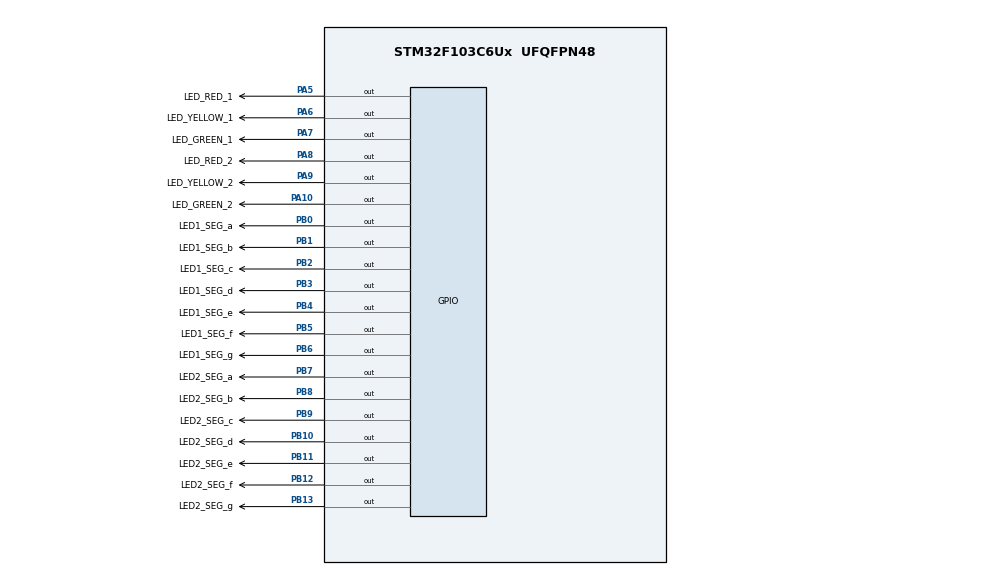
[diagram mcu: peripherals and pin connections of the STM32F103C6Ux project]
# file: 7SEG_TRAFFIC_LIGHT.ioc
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Mcu.Family=STM32F1
Mcu.Name=STM32F103C6Ux
Mcu.Package=UFQFPN48
NVIC.PriorityGroup=NVIC_PRIORITYGROUP_4
PA10.GPIO_Label=LED_GREEN_2
PA10.Signal=GPIO_Output
PA5.GPIO_Label=LED_RED_1
PA5.Signal=GPIO_Output
PA6.GPIO_Label=LED_YELLOW_1
PA6.Signal=GPIO_Output
PA7.GPIO_Label=LED_GREEN_1
PA7.Signal=GPIO_Output
PA8.GPIO_Label=LED_RED_2
PA8.Signal=GPIO_Output
PA9.GPIO_Label=LED_YELLOW_2
PA9.Signal=GPIO_Output
PB0.GPIO_Label=LED1_SEG_a
PB0.Signal=GPIO_Output
PB1.GPIO_Label=LED1_SEG_b
PB1.Signal=GPIO_Output
PB10.GPIO_Label=LED2_SEG_d
PB10.Signal=GPIO_Output
PB11.GPIO_Label=LED2_SEG_e
PB11.Signal=GPIO_Output
PB12.GPIO_Label=LED2_SEG_f
PB12.Signal=GPIO_Output
PB13.GPIO_Label=LED2_SEG_g
PB13.Signal=GPIO_Output
PB2.GPIO_Label=LED1_SEG_c
PB2.Signal=GPIO_Output
PB3.GPIO_Label=LED1_SEG_d
PB3.Signal=GPIO_Output
PB4.GPIO_Label=LED1_SEG_e
PB4.Signal=GPIO_Output
PB5.GPIO_Label=LED1_SEG_f
PB5.Signal=GPIO_Output
PB6.GPIO_Label=LED1_SEG_g
PB6.Signal=GPIO_Output
PB7.GPIO_Label=LED2_SEG_a
PB7.Signal=GPIO_Output
PB8.GPIO_Label=LED2_SEG_b
PB8.Signal=GPIO_Output
PB9.GPIO_Label=LED2_SEG_c
PB9.Signal=GPIO_Output
ProjectManager.HeapSize=0x200
ProjectManager.StackSize=0x400
ProjectManager.TargetToolchain=STM32CubeIDE
RCC.APB1Freq_Value=8000000
RCC.APB2Freq_Value=8000000
VP_SYS_VS_ND.Mode=No_Debug
board=custom

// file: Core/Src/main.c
/* USER CODE BEGIN Header */
/**
  ******************************************************************************
  * @file           : main.c
  * @brief          : Main program body
  ******************************************************************************
  * @attention
  *
  * <h2><center>&copy; Copyright (c) 2023 STMicroelectronics.
  * All rights reserved.</center></h2>
  *
  * This software component is licensed by ST under BSD 3-Clause license,
  * the "License"; You may not use this file except in compliance with the
  * License. You may obtain a copy of the License at:
  *                        opensource.org/licenses/BSD-3-Clause
  *
  ******************************************************************************
  */
/* USER CODE END Header */
#include "main.h"

void SystemClock_Config(void);
static void MX_GPIO_Init(void);

/* USER CODE BEGIN 0 */
void display7SEG(int num){
	const uint8_t sevenSegment[10] = {	0b00111111, // 0
										0b00000110, // 1
										0b01011011, // 2
										0b01001111, // 3
										0b01100110, // 4
										0b01101101, // 5
										0b01111101, // 6
										0b00000111, // 7
										0b01111111, // 8
										0b01101111  // 9
	};
	HAL_GPIO_WritePin(SEG_a_GPIO_Port, SEG_a_Pin, (sevenSegment[num] & 0x01) ? RESET : SET);
	HAL_GPIO_WritePin(SEG_b_GPIO_Port, SEG_b_Pin, (sevenSegment[num] & 0x02) ? RESET : SET);
	HAL_GPIO_WritePin(SEG_c_GPIO_Port, SEG_c_Pin, (sevenSegment[num] & 0x04) ? RESET : SET);
	HAL_GPIO_WritePin(SEG_d_GPIO_Port, SEG_d_Pin, (sevenSegment[num] & 0x08) ? RESET : SET);
	HAL_GPIO_WritePin(SEG_e_GPIO_Port, SEG_e_Pin, (sevenSegment[num] & 0x10) ? RESET : SET);
	HAL_GPIO_WritePin(SEG_f_GPIO_Port, SEG_f_Pin, (sevenSegment[num] & 0x20) ? RESET : SET);
	HAL_GPIO_WritePin(SEG_g_GPIO_Port, SEG_g_Pin, (sevenSegment[num] & 0x40) ? RESET : SET);
}

void displayLED(int counter){
	if(counter == 0){
		  HAL_GPIO_WritePin(LED_RED_1_GPIO_Port, LED_RED_1_Pin, SET);
		  HAL_GPIO_WritePin(LED_YELLOW_1_GPIO_Port, LED_YELLOW_1_Pin, RESET);
		  HAL_GPIO_WritePin(LED_GREEN_1_GPIO_Port, LED_GREEN_1_Pin, RESET);
		  HAL_GPIO_WritePin(LED_RED_2_GPIO_Port, LED_RED_2_Pin, RESET);
		  HAL_GPIO_WritePin(LED_YELLOW_2_GPIO_Port, LED_YELLOW_2_Pin, RESET);
		  HAL_GPIO_WritePin(LED_GREEN_2_GPIO_Port, LED_GREEN_2_Pin, SET);
	  }
	  if(counter == 3){
		  HAL_GPIO_WritePin(LED_RED_1_GPIO_Port, LED_RED_1_Pin, SET);
		  HAL_GPIO_WritePin(LED_YELLOW_1_GPIO_Port, LED_YELLOW_1_Pin, RESET);
		  HAL_GPIO_WritePin(LED_GREEN_1_GPIO_Port, LED_GREEN_1_Pin, RESET);
		  HAL_GPIO_WritePin(LED_RED_2_GPIO_Port, LED_RED_2_Pin, RESET);
		  HAL_GPIO_WritePin(LED_YELLOW_2_GPIO_Port, LED_YELLOW_2_Pin, SET);
		  HAL_GPIO_WritePin(LED_GREEN_2_GPIO_Port, LED_GREEN_2_Pin, RESET);
	  }
	  if(counter == 5){
		  HAL_GPIO_WritePin(LED_RED_1_GPIO_Port, LED_RED_1_Pin, RESET);
		  HAL_GPIO_WritePin(LED_YELLOW_1_GPIO_Port, LED_YELLOW_1_Pin, RESET);
		  HAL_GPIO_WritePin(LED_GREEN_1_GPIO_Port, LED_GREEN_1_Pin, SET);
		  HAL_GPIO_WritePin(LED_RED_2_GPIO_Port, LED_RED_2_Pin, SET);
		  HAL_GPIO_WritePin(LED_YELLOW_2_GPIO_Port, LED_YELLOW_2_Pin, RESET);
		  HAL_GPIO_WritePin(LED_GREEN_2_GPIO_Port, LED_GREEN_2_Pin, RESET);
	  }
	  if(counter == 8){
		  HAL_GPIO_WritePin(LED_RED_1_GPIO_Port, LED_RED_1_Pin, RESET);
		  HAL_GPIO_WritePin(LED_YELLOW_1_GPIO_Port, LED_YELLOW_1_Pin, SET);
		  HAL_GPIO_WritePin(LED_GREEN_1_GPIO_Port, LED_GREEN_1_Pin, RESET);
		  HAL_GPIO_WritePin(LED_RED_2_GPIO_Port, LED_RED_2_Pin, SET);
		  HAL_GPIO_WritePin(LED_YELLOW_2_GPIO_Port, LED_YELLOW_2_Pin, RESET);
		  HAL_GPIO_WritePin(LED_GREEN_2_GPIO_Port, LED_GREEN_2_Pin, RESET);
	  }
	  if(counter == 10){
		  counter = -1;
	  }
}
/* USER CODE END 0 */

int main(void)
{

  /* MCU Configuration--------------------------------------------------------*/

  /* Reset of all peripherals, Initializes the Flash interface and the Systick. */
  HAL_Init();

  /* Configure the system clock */
  SystemClock_Config();

  /* Initialize all configured peripherals */
  MX_GPIO_Init();

  /* Infinite loop */
  /* USER CODE BEGIN WHILE */
  int counter = 0;
  while (1)
  {
    /* USER CODE END WHILE */
	  if(counter >= 10) counter = 0;
	  display7SEG(counter++);
	  displayLED(counter++);
	  HAL_Delay(1000);
  }
}

void SystemClock_Config(void)
{
  RCC_OscInitTypeDef RCC_OscInitStruct = {0};
  RCC_ClkInitTypeDef RCC_ClkInitStruct = {0};

  /** Initializes the RCC Oscillators according to the specified parameters
  * in the RCC_OscInitTypeDef structure.
  */
  RCC_OscInitStruct.OscillatorType = RCC_OSCILLATORTYPE_HSI;
  RCC_OscInitStruct.HSIState = RCC_HSI_ON;
  RCC_OscInitStruct.HSICalibrationValue = RCC_HSICALIBRATION_DEFAULT;
  RCC_OscInitStruct.PLL.PLLState = RCC_PLL_NONE;
  if (HAL_RCC_OscConfig(&RCC_OscInitStruct) != HAL_OK)
  {
    Error_Handler();
  }
  /** Initializes the CPU, AHB and APB buses clocks
  */
  RCC_ClkInitStruct.ClockType = RCC_CLOCKTYPE_HCLK|RCC_CLOCKTYPE_SYSCLK
                              |RCC_CLOCKTYPE_PCLK1|RCC_CLOCKTYPE_PCLK2;
  RCC_ClkInitStruct.SYSCLKSource = RCC_SYSCLKSOURCE_HSI;
  RCC_ClkInitStruct.AHBCLKDivider = RCC_SYSCLK_DIV1;
  RCC_ClkInitStruct.APB1CLKDivider = RCC_HCLK_DIV1;
  RCC_ClkInitStruct.APB2CLKDivider = RCC_HCLK_DIV1;

  if (HAL_RCC_ClockConfig(&RCC_ClkInitStruct, FLASH_LATENCY_0) != HAL_OK)
  {
    Error_Handler();
  }
}

static void MX_GPIO_Init(void)
{
  GPIO_InitTypeDef GPIO_InitStruct = {0};

  /* GPIO Ports Clock Enable */
  __HAL_RCC_GPIOA_CLK_ENABLE();
  __HAL_RCC_GPIOB_CLK_ENABLE();

  /*Configure GPIO pin Output Level */
  HAL_GPIO_WritePin(GPIOA, LED_RED_1_Pin|LED_YELLOW_1_Pin|LED_GREEN_1_Pin|LED_RED_2_Pin
                          |LED_YELLOW_2_Pin|LED_GREEN_2_Pin, GPIO_PIN_RESET);

  /*Configure GPIO pin Output Level */
  HAL_GPIO_WritePin(GPIOB, LED1_SEG_a_Pin|LED1_SEG_b_Pin|LED1_SEG_c_Pin|LED2_SEG_d_Pin
                          |LED2_SEG_e_Pin|LED2_SEG_f_Pin|LED2_SEG_g_Pin|LED1_SEG_d_Pin
                          |LED1_SEG_e_Pin|LED1_SEG_f_Pin|LED1_SEG_g_Pin|LED2_SEG_a_Pin
                          |LED2_SEG_b_Pin|LED2_SEG_c_Pin, GPIO_PIN_RESET);

  /*Configure GPIO pins : LED_RED_1_Pin LED_YELLOW_1_Pin LED_GREEN_1_Pin LED_RED_2_Pin
                           LED_YELLOW_2_Pin LED_GREEN_2_Pin */
  GPIO_InitStruct.Pin = LED_RED_1_Pin|LED_YELLOW_1_Pin|LED_GREEN_1_Pin|LED_RED_2_Pin
                          |LED_YELLOW_2_Pin|LED_GREEN_2_Pin;
  GPIO_InitStruct.Mode = GPIO_MODE_OUTPUT_PP;
  GPIO_InitStruct.Pull = GPIO_NOPULL;
  GPIO_InitStruct.Speed = GPIO_SPEED_FREQ_LOW;
  HAL_GPIO_Init(GPIOA, &GPIO_InitStruct);

  /*Configure GPIO pins : LED1_SEG_a_Pin LED1_SEG_b_Pin LED1_SEG_c_Pin LED2_SEG_d_Pin
                           LED2_SEG_e_Pin LED2_SEG_f_Pin LED2_SEG_g_Pin LED1_SEG_d_Pin
                           LED1_SEG_e_Pin LED1_SEG_f_Pin LED1_SEG_g_Pin LED2_SEG_a_Pin
                           LED2_SEG_b_Pin LED2_SEG_c_Pin */
  GPIO_InitStruct.Pin = LED1_SEG_a_Pin|LED1_SEG_b_Pin|LED1_SEG_c_Pin|LED2_SEG_d_Pin
                          |LED2_SEG_e_Pin|LED2_SEG_f_Pin|LED2_SEG_g_Pin|LED1_SEG_d_Pin
                          |LED1_SEG_e_Pin|LED1_SEG_f_Pin|LED1_SEG_g_Pin|LED2_SEG_a_Pin
                          |LED2_SEG_b_Pin|LED2_SEG_c_Pin;
  GPIO_InitStruct.Mode = GPIO_MODE_OUTPUT_PP;
  GPIO_InitStruct.Pull = GPIO_NOPULL;
  GPIO_InitStruct.Speed = GPIO_SPEED_FREQ_LOW;
  HAL_GPIO_Init(GPIOB, &GPIO_InitStruct);

}

void Error_Handler(void)
{
  __disable_irq();
  while (1)
  {
  }
}

/************************ (C) COPYRIGHT STMicroelectronics *****END OF FILE****/
